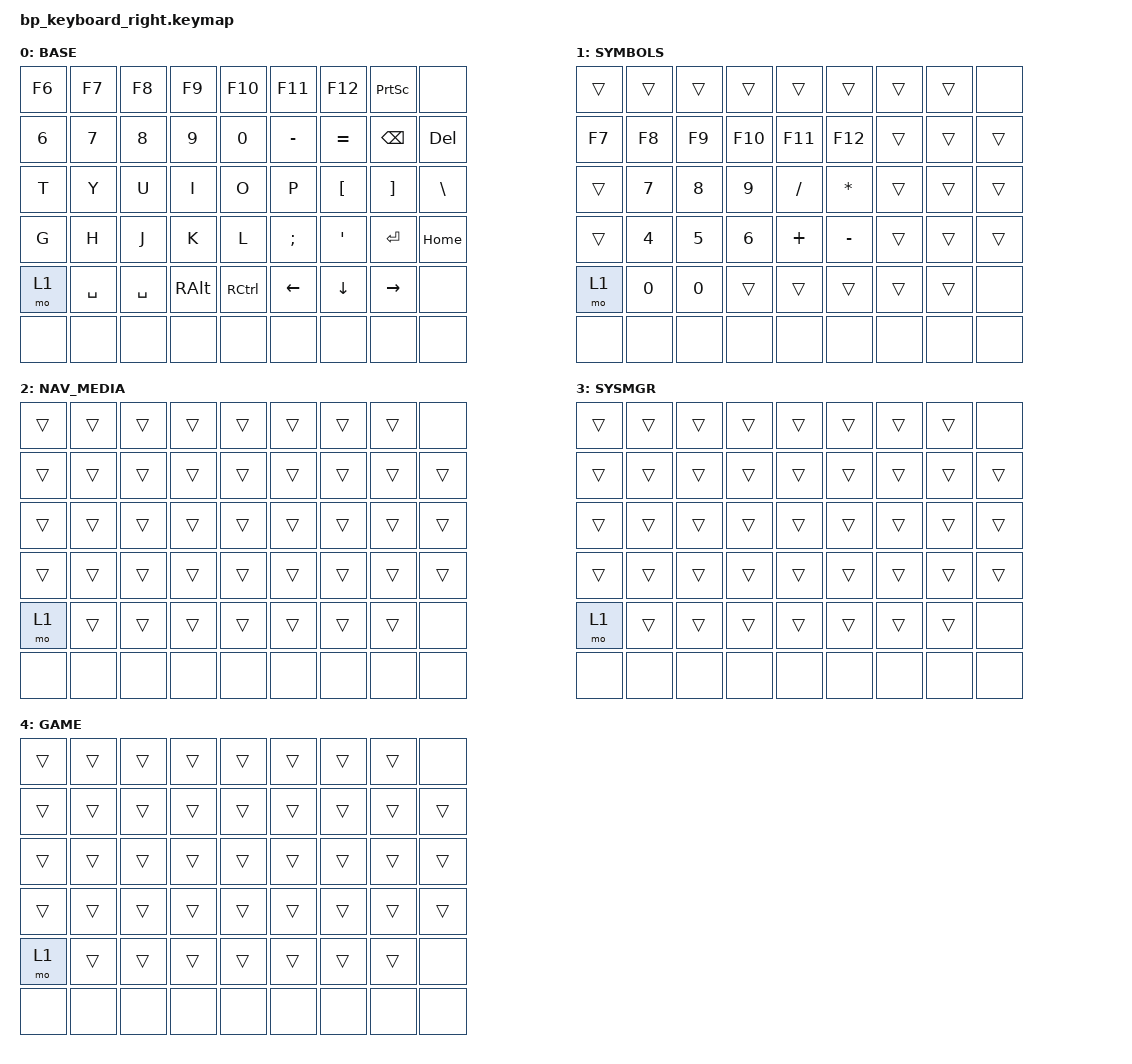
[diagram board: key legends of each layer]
/*
 * Copyright (c) 2026 BP Keyboard
 * SPDX-License-Identifier: MIT
 *
 * BP分体键盘 - 右键盘键位映射 (Peripheral)
 */

#include <dt-bindings/zmk/keys.h>
#include <dt-bindings/zmk/bt.h>
#include <dt-bindings/zmk/outputs.h>

/ {
    keymap {
        compatible = "zmk,keymap";

        default_layer {
            label = "BASE";
            bindings = <
                &kp F6    &kp F7    &kp F8    &kp F9    &kp F10   &kp F11   &kp F12   &kp PSCRN &none
                &kp N6    &kp N7    &kp N8    &kp N9    &kp N0    &kp MINUS &kp EQUAL &kp BSPC  &kp DEL
                &kp T     &kp Y     &kp U     &kp I     &kp O     &kp P     &kp LBKT  &kp RBKT  &kp BSLH
                &kp G     &kp H     &kp J     &kp K     &kp L     &kp SEMI  &kp SQT   &kp RET   &kp HOME
                &mo 1     &kp SPACE &kp SPACE &kp RALT  &kp RCTRL &kp LEFT  &kp DOWN  &kp RIGHT &none
                &none     &none     &none     &none     &none     &none     &none     &none     &none
            >;
        };

        sym_layer {
            label = "SYMBOLS";
            bindings = <
                &trans    &trans    &trans    &trans    &trans    &trans    &trans    &trans    &none
                &kp F7    &kp F8    &kp F9    &kp F10   &kp F11   &kp F12   &trans    &trans    &trans
                &trans    &kp N7    &kp N8    &kp N9    &kp FSLH  &kp ASTRK &trans    &trans    &trans
                &trans    &kp N4    &kp N5    &kp N6    &kp PLUS  &kp MINUS &trans    &trans    &trans
                &mo 1     &kp N0    &kp N0    &trans    &trans    &trans    &trans    &trans    &none
                &none     &none     &none     &none     &none     &none     &none     &none     &none
            >;
        };

        nav_layer {
            label = "NAV_MEDIA";
            bindings = <
                &trans    &trans    &trans    &trans    &trans    &trans    &trans    &trans    &none
                &trans    &trans    &trans    &trans    &trans    &trans    &trans    &trans    &trans
                &trans    &trans    &trans    &trans    &trans    &trans    &trans    &trans    &trans
                &trans    &trans    &trans    &trans    &trans    &trans    &trans    &trans    &trans
                &mo 1     &trans    &trans    &trans    &trans    &trans    &trans    &trans    &none
                &none     &none     &none     &none     &none     &none     &none     &none     &none
            >;
        };

        sys_layer {
            label = "SYSMGR";
            bindings = <
                &trans    &trans    &trans    &trans    &trans    &trans    &trans    &trans    &none
                &trans    &trans    &trans    &trans    &trans    &trans    &trans    &trans    &trans
                &trans    &trans    &trans    &trans    &trans    &trans    &trans    &trans    &trans
                &trans    &trans    &trans    &trans    &trans    &trans    &trans    &trans    &trans
                &mo 1     &trans    &trans    &trans    &trans    &trans    &trans    &trans    &none
                &none     &none     &none     &none     &none     &none     &none     &none     &none
            >;
        };

        game_layer {
            label = "GAME";
            bindings = <
                &trans    &trans    &trans    &trans    &trans    &trans    &trans    &trans    &none
                &trans    &trans    &trans    &trans    &trans    &trans    &trans    &trans    &trans
                &trans    &trans    &trans    &trans    &trans    &trans    &trans    &trans    &trans
                &trans    &trans    &trans    &trans    &trans    &trans    &trans    &trans    &trans
                &mo 1     &trans    &trans    &trans    &trans    &trans    &trans    &trans    &none
                &none     &none     &none     &none     &none     &none     &none     &none     &none
            >;
        };
    };
};
